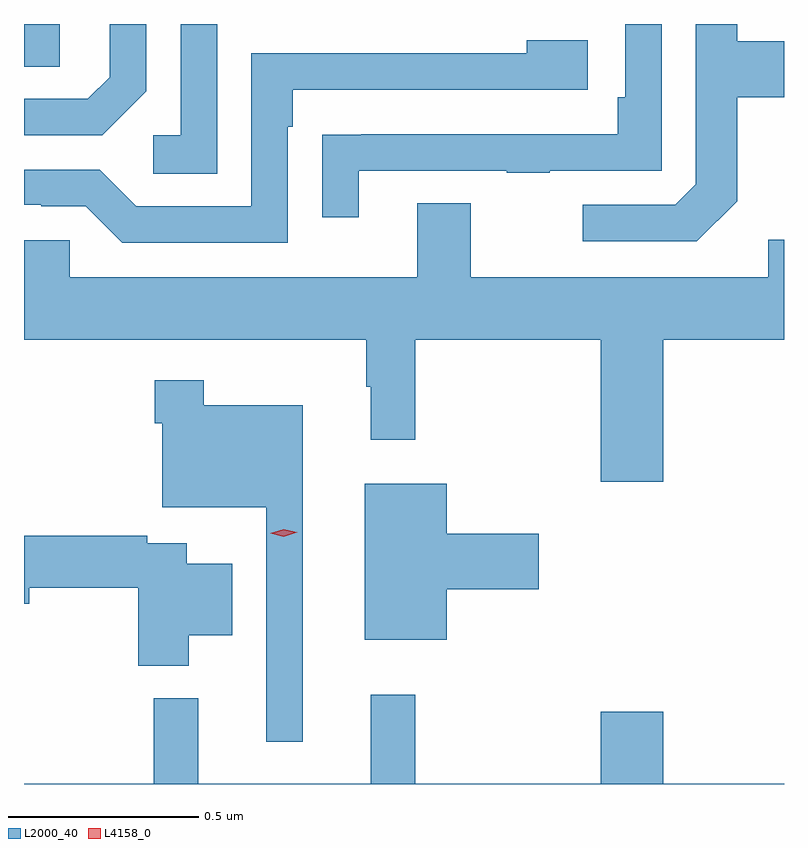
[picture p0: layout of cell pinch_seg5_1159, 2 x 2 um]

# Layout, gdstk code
import gdstk
lib = gdstk.Library(unit=1e-6, precision=1e-09)
def R(c, l, rs):  # rectangles x0, y0, x1, y1
    for r in rs: c.add(gdstk.rectangle(r[:2], r[2:], *l))
def P(c, l, *ps):  # polygons
    for p in ps: c.add(gdstk.Polygon(p, *l))
L2000_40 = (2000, 40)
L4158_0 = (4158, 0)

pinch_seg5_1159 = lib.new_cell('pinch_seg5_1159')
R(pinch_seg5_1159, L2000_40, [(798.854,842.827,798.948,842.939)])
P(pinch_seg5_1159, L2000_40, [(800.731,842.473),(800.731,842.746),(800.854,842.746),(800.854,842.893),(800.731,842.893),(800.731,842.939),(800.622,842.939),(800.622,842.517),(800.568,842.463),(800.325,842.463),(800.325,842.367),(800.625,842.367)],
  [(799.362,842.939),(799.266,842.939),(799.266,842.646),(799.194,842.646),(799.194,842.545),(799.362,842.545)],
  [(799.735,842.553),(800.125,842.553),(800.125,842.548),(800.237,842.548),(800.237,842.553),(800.532,842.553),(800.532,842.939),(800.436,842.939),(800.436,842.746),(800.416,842.746),(800.416,842.649),(799.741,842.649),(799.741,842.648),(799.639,842.648),(799.639,842.43),(799.735,842.43)],
  [(799.176,842.762),(799.176,842.939),(799.079,842.939),(799.079,842.799),(799.022,842.742),(798.854,842.742),(798.854,842.646),(799.06,842.646)],
  [(799.548,842.669),(799.561,842.669),(799.561,842.766),(800.338,842.766),(800.338,842.896),(800.177,842.896),(800.177,842.862),(799.452,842.862),(799.452,842.46),(799.149,842.46),(799.053,842.556),(798.854,842.556),(798.854,842.463),(798.899,842.463),(798.899,842.46),(799.017,842.46),(799.113,842.364),(799.548,842.364)],
  [(800.854,842.371),(800.813,842.371),(800.813,842.272),(800.029,842.272),(800.029,842.467),(799.889,842.467),(799.889,842.272),(798.975,842.272),(798.975,842.37),(798.854,842.37),(798.854,842.108),(799.755,842.108),(799.755,841.985),(799.766,841.985),(799.766,841.845),(799.883,841.845),(799.883,842.108),(800.372,842.108),(800.372,841.734),(800.536,841.734),(800.536,842.108),(800.854,842.108)],
  [(799.588,841.936),(799.327,841.936),(799.327,842.002),(799.198,842.002),(799.198,841.889),(799.218,841.889),(799.218,841.667),(799.491,841.667),(799.491,841.05),(799.588,841.05)],
  [(799.966,841.451),(800.209,841.451),(800.209,841.598),(799.966,841.598),(799.966,841.729),(799.751,841.729),(799.751,841.319),(799.966,841.319)],
  [(799.288,841.331),(799.402,841.331),(799.402,841.519),(799.282,841.519),(799.282,841.572),(799.178,841.572),(799.178,841.592),(798.854,841.592),(798.854,841.414),(798.868,841.414),(798.868,841.456),(799.154,841.456),(799.154,841.25),(799.288,841.25)],
  [(800.854,840.94),(800.536,840.94),(800.536,841.129),(800.372,841.129),(800.372,840.94),(799.883,840.94),(799.883,841.174),(799.766,841.174),(799.766,840.94),(799.313,840.94),(799.313,841.165),(799.195,841.165),(799.195,840.94),(798.854,840.94),(798.854,840.939),(800.854,840.939)])
P(pinch_seg5_1159, L4158_0, [(799.538,841.59),(799.502,841.599),(799.502,841.599),(799.502,841.599),(799.537,841.61),(799.573,841.602),(799.573,841.602),(799.573,841.602)])

lib.write_gds('pinch_seg5_1159.gds')
